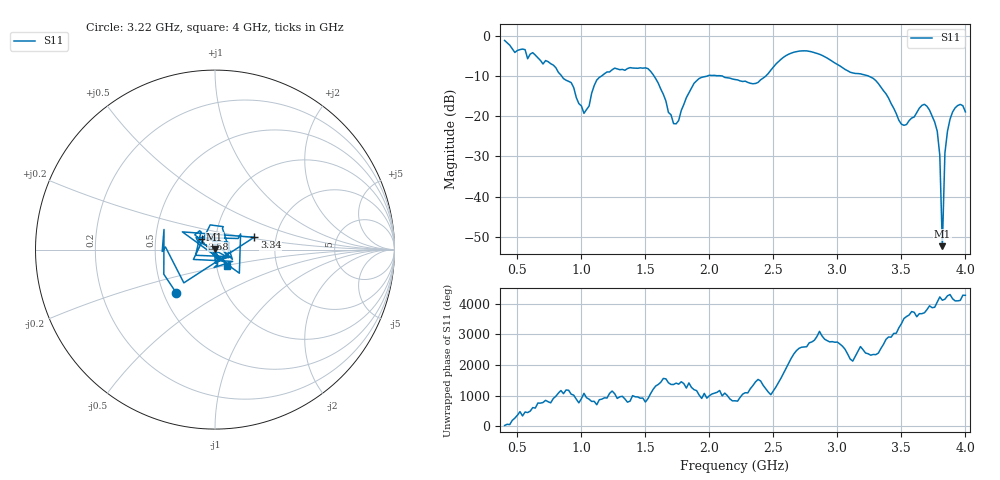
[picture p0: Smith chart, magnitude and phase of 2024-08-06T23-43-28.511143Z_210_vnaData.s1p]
!Created with skrf (http://scikit-rf.org).
# Hz S RI R 50.0
!freq ReS11 ImS11
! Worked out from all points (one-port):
!   181 points, 400 MHz to 4 GHz, reference 50 ohm
!   lowest |S11| = -52.4 dB at 3.82 GHz (marker M1), VSWR 1.00, Z = 49.8 + j0.123 ohm
!   |S11| at or under -10 dB: 1.567 GHz to 1.987 GHz (419.9 MHz wide, 23.6 % of centre); 2.096 GHz to 2.442 GHz (346.4 MHz wide, 15.3 % of centre); 3.24 GHz to end of sweep (the widest 3 of 4)
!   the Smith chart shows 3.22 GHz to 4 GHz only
!   S11 on the Smith chart (normalised r, x): 3.22 GHz: 0.58, -0.31; 3.34 GHz: 1.54, +0.22; 3.58 GHz: 0.86, +0.11; 4 GHz: 1.13, -0.20
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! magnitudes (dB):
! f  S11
! 400 MHz  -1.2
! 860 MHz  -10.7
! 920 MHz  -11.7
! 1.02 GHz  -19.3
! 1.12 GHz  -11.0
! 1.3 GHz  -8.5
! 1.52 GHz  -8.2
! 1.6 GHz  -11.8
! 1.72 GHz  -21.9
! 1.76 GHz  -21.1
! 1.92 GHz  -10.6
! 2.2 GHz  -10.9
! 2.38 GHz  -11.6
! 2.66 GHz  -4.1
! 3.1 GHz  -9.1
! 3.22 GHz  -9.8
! 3.34 GHz  -12.8
! 3.5 GHz  -22.0
! 3.56 GHz  -21.1
! 3.58 GHz  -20.5
! 3.68 GHz  -17.1
! 3.78 GHz  -23.8
! 3.8 GHz  -29.7
! 3.82 GHz  -52.4
! 3.84 GHz  -29.2
! 3.86 GHz  -23.8
! 3.92 GHz  -18.0
! 4 GHz  -18.9
